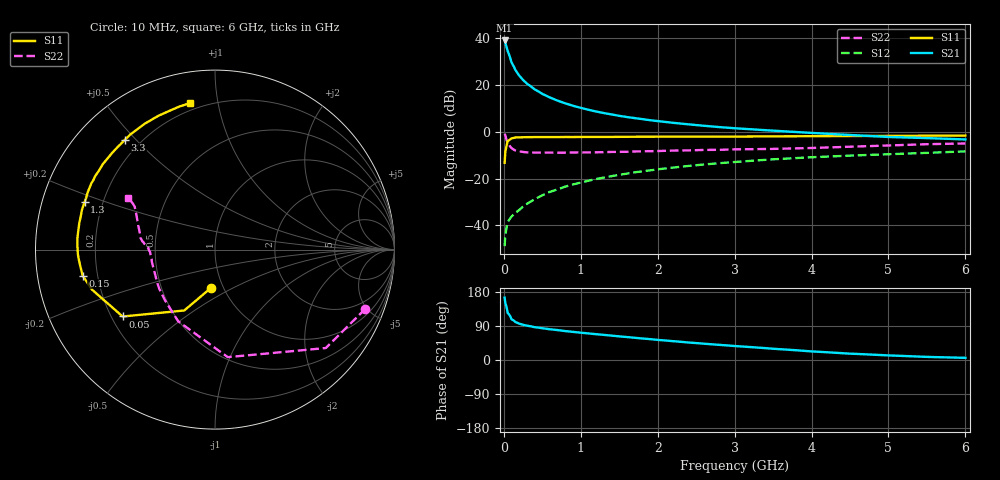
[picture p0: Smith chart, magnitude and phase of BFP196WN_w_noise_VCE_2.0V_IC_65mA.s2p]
! Infineon Technologies  Discrete & RF Semiconductors
! BFP196WN
! VCE =  2.0 V,  IC =  65 mA
! Common Emitter S-Parameters:  Jan 2017
# GHz  S  MA  R  50
!  f  S11  S21  S12  S22
! GHz  MAG  ANG  MAG  ANG  MAG  ANG  MAG  ANG
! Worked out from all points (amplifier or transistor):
!   77 points, 10 MHz to 6 GHz, reference 50 ohm
!   highest |S21| = 39.0 dB at 10 MHz (marker M1)
!   |S21| within 3 dB of that: start of sweep to 36.55 MHz
!   unconditionally stable (mu >= 1): 545.1 MHz to 2.754 GHz
!   at 130 MHz: K = 0.65, MSG = 31.5 dB, |S12| = -35.3 dB
!   at 2.2 GHz: K = 1.02, MAG = 8.7 dB, |S12| = -15.3 dB
!   at 6 GHz: K = 0.94, MSG = 2.5 dB, |S12| = -8.4 dB
!   lowest NFmin = 1.43 dB at 450 MHz
!   S11 on the Smith chart (normalised r, x): 10 MHz: 0.87, -0.39; 50 MHz: 0.24, -0.31; 150 MHz: 0.14, -0.10; 1.3 GHz: 0.13, +0.17; 3.3 GHz: 0.14, +0.47; 6 GHz: 0.16, +0.83
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0.01  0.2169 -96.6  88.64 164.6  0.0036 78.0  0.9004 -21.5
0.02  0.38 -116.8  78.8 149.9  0.0063 69.8  0.8258 -41.6
0.05  0.6355 -144.1  52.61 124.0  0.0117 48.6  0.6034 -83.2
0.1  0.7201 -161.9  30.11 107.5  0.0154 49.6  0.4492 -117.2
0.15  0.7518 -168.9  20.83 100.3  0.0184 52.5  0.3967 -134.7
0.2  0.7564 -173.2  15.77 96.0  0.0214 58.2  0.3796 -145.0
0.25  0.7611 -176.0  12.69 92.9  0.0252 60.4  0.3695 -151.3
0.3  0.7647 -178.3  10.63 90.6  0.0289 62.4  0.3621 -156.4
0.4  0.7671 178.1  8.02 86.7  0.0359 66.1  0.3581 -162.4
0.5  0.7691 175.4  6.42 83.8  0.0439 68.1  0.3579 -166.5
0.6  0.769 173.1  5.364 81.1  0.052 69.2  0.3585 -169.6
0.7  0.769 171.1  4.593 78.9  0.0588 70.7  0.3564 -171.7
0.9  0.77 166.9  3.572 74.2  0.0748 70.0  0.3597 -174.7
1.1  0.7737 163.4  2.938 70.1  0.0899 69.4  0.3616 -177.4
1.3  0.7731 159.9  2.499 66.3  0.1048 68.5  0.366 -178.9
1.6  0.7782 155.2  2.058 60.6  0.1273 66.5  0.3726 178.6
2.1  0.7824 147.2  1.615 51.5  0.1642 62.6  0.3908 175.7
3.1  0.7883 132.2  1.157 35.6  0.2316 53.7  0.4216 170.4
3.3  0.7912 129.3  1.103 32.8  0.2443 51.9  0.4253 168.9
4.1  0.8037 118.0  0.923 21.6  0.2893 44.7  0.4543 161.1
5.1  0.815 107.3  0.763 11.4  0.3345 36.9  0.5143 151.4
6  0.8283 99.5  0.683 5.7  0.3802 30.9  0.5608 149.4
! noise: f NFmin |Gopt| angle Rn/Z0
0.45  1.43  0.56  -176  0.05
0.9  1.55  0.58  -169  0.06
1.9  2.48  0.69  -147  0.18
2.4  3.26  0.7  -139  0.31
